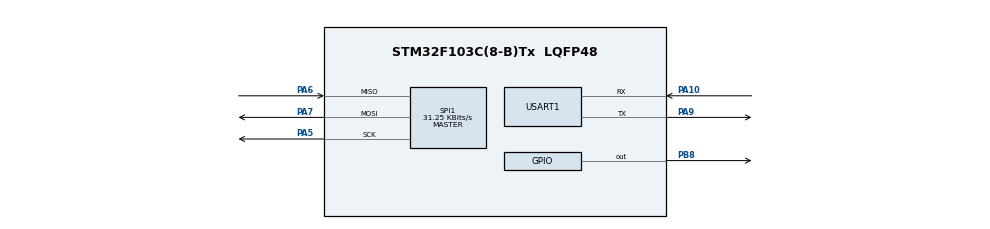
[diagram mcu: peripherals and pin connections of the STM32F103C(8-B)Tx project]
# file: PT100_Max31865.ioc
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Mcu.Family=STM32F1
Mcu.Name=STM32F103C(8-B)Tx
Mcu.Package=LQFP48
NVIC.PriorityGroup=NVIC_PRIORITYGROUP_4
PA10.Mode=Asynchronous
PA10.Signal=USART1_RX
PA13.Mode=Serial_Wire
PA13.Signal=SYS_JTMS-SWDIO
PA14.Mode=Serial_Wire
PA14.Signal=SYS_JTCK-SWCLK
PA5.Mode=Full_Duplex_Master
PA5.Signal=SPI1_SCK
PA6.Mode=Full_Duplex_Master
PA6.Signal=SPI1_MISO
PA7.Mode=Full_Duplex_Master
PA7.Signal=SPI1_MOSI
PA9.Mode=Asynchronous
PA9.Signal=USART1_TX
PB8.GPIO_Speed=GPIO_SPEED_FREQ_HIGH
PB8.PinState=GPIO_PIN_SET
PB8.Signal=GPIO_Output
PD0-OSC_IN.Mode=HSE-External-Oscillator
PD0-OSC_IN.Signal=RCC_OSC_IN
PD1-OSC_OUT.Mode=HSE-External-Oscillator
PD1-OSC_OUT.Signal=RCC_OSC_OUT
ProjectManager.HeapSize=0x200
ProjectManager.StackSize=0x400
ProjectManager.TargetToolchain=TrueSTUDIO
RCC.APB1Freq_Value=8000000
RCC.APB2Freq_Value=8000000
RCC.PLLSourceVirtual=RCC_PLLSOURCE_HSE
RCC.SYSCLKSource=RCC_SYSCLKSOURCE_HSE
RCC.USBFreq_Value=16000000
SPI1.BaudRatePrescaler=SPI_BAUDRATEPRESCALER_256
SPI1.CLKPhase=SPI_PHASE_2EDGE
SPI1.CalculateBaudRate=31.25 KBits/s
SPI1.Direction=SPI_DIRECTION_2LINES
SPI1.Mode=SPI_MODE_MASTER
SPI1.VirtualType=VM_MASTER
USART1.VirtualMode=VM_ASYNC
board=PT100_Max31865

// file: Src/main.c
/**
  ******************************************************************************
  * File Name          : main.c
  * Description        : Main program body
  ******************************************************************************
  ** This notice applies to any and all portions of this file
  * that are not between comment pairs USER CODE BEGIN and
  * USER CODE END. Other portions of this file, whether
  * inserted by the user or by software development tools
  * are owned by their respective copyright owners.
  *
  * COPYRIGHT(c) 2019 STMicroelectronics
  *
  * Redistribution and use in source and binary forms, with or without modification,
  * are permitted provided that the following conditions are met:
  *   1. Redistributions of source code must retain the above copyright notice,
  *      this list of conditions and the following disclaimer.
  *   2. Redistributions in binary form must reproduce the above copyright notice,
  *      this list of conditions and the following disclaimer in the documentation
  *      and/or other materials provided with the distribution.
  *   3. Neither the name of STMicroelectronics nor the names of its contributors
  *      may be used to endorse or promote products derived from this software
  *      without specific prior written permission.
  *
  * THIS SOFTWARE IS PROVIDED BY THE COPYRIGHT HOLDERS AND CONTRIBUTORS "AS IS"
  * AND ANY EXPRESS OR IMPLIED WARRANTIES, INCLUDING, BUT NOT LIMITED TO, THE
  * IMPLIED WARRANTIES OF MERCHANTABILITY AND FITNESS FOR A PARTICULAR PURPOSE ARE
  * DISCLAIMED. IN NO EVENT SHALL THE COPYRIGHT HOLDER OR CONTRIBUTORS BE LIABLE
  * FOR ANY DIRECT, INDIRECT, INCIDENTAL, SPECIAL, EXEMPLARY, OR CONSEQUENTIAL
  * DAMAGES (INCLUDING, BUT NOT LIMITED TO, PROCUREMENT OF SUBSTITUTE GOODS OR
  * SERVICES; LOSS OF USE, DATA, OR PROFITS; OR BUSINESS INTERRUPTION) HOWEVER
  * CAUSED AND ON ANY THEORY OF LIABILITY, WHETHER IN CONTRACT, STRICT LIABILITY,
  * OR TORT (INCLUDING NEGLIGENCE OR OTHERWISE) ARISING IN ANY WAY OUT OF THE USE
  * OF THIS SOFTWARE, EVEN IF ADVISED OF THE POSSIBILITY OF SUCH DAMAGE.
  *
  ******************************************************************************
  */

#include "main.h"
#include "stm32f1xx_hal.h"

/* USER CODE BEGIN Includes */
#include <dbgPrint.h>
#include <MAX31865.h>
#include <stdlib.h>
#include <stdio.h>
#include <math.h>
/* USER CODE END Includes */

SPI_HandleTypeDef hspi1;

UART_HandleTypeDef huart1;

/* USER CODE BEGIN PV */
/* Private variables ---------------------------------------------------------*/

/* USER CODE END PV */

void SystemClock_Config(void);
static void MX_GPIO_Init(void);
static void MX_USART1_UART_Init(void);
static void MX_SPI1_Init(void);

/* USER CODE BEGIN PFP */
/* Private function prototypes -----------------------------------------------*/

/* USER CODE END PFP */

/* USER CODE BEGIN 0 */
void printchar (uint8_t c)
{
	HAL_UART_Transmit(&huart1, &c, 1, 1000);
}

void spi_write(uint8_t *data, uint8_t len)
{
	HAL_SPI_Transmit(&hspi1, data, len, HAL_MAX_DELAY);
}
void spi_read(uint8_t *buffer, uint8_t len)
{
	HAL_SPI_Receive(&hspi1, buffer, len, HAL_MAX_DELAY);
}
void MAX31865_read(uint8_t addr, uint8_t *buffer, uint8_t len)
{
    addr &= ~MAX31865_READ;                                     // Force read bit on address

    HAL_GPIO_WritePin(GPIO_PORT_CS, GPIO_PIN_CS, GPIO_PIN_RESET);          // Enable CE
    spi_write(&addr, 1);                                        // Write addr
    while(HAL_SPI_GetState(&hspi1) != HAL_SPI_STATE_READY);
    spi_read(buffer, len);                                      // Read data
    HAL_GPIO_WritePin(GPIO_PORT_CS, GPIO_PIN_CS, GPIO_PIN_SET);         // Disable CE

}
void MAX31865_write(uint8_t addr, uint8_t data)
{
    addr |= MAX31865_WRITE;                                 // Force write bit on address

    HAL_GPIO_WritePin(GPIO_PORT_CS, GPIO_PIN_CS, GPIO_PIN_RESET);      // Enable CE
    spi_write(&addr, 1);                                    // Write addr
    spi_write(&data, 1);                                    // Write data
    HAL_GPIO_WritePin(GPIO_PORT_CS, GPIO_PIN_CS, GPIO_PIN_SET);     // Disable CE
}

float  temperature(float RTDnominal, float refResistor, float data) {

  float Z1, Z2, Z3, Z4, Rt, temp;

  Rt = data;
  Rt /= 32768;
  Rt *= refResistor;

  Z1 = -RTD_A;
  Z2 = RTD_A * RTD_A - (4 * RTD_B);
  Z3 = (4 * RTD_B) / RTDnominal;
  Z4 = 2 * RTD_B;

  temp = Z2 + (Z3 * Rt);
  temp = (sqrt(temp) + Z1) / Z4;

  if (temp >= 0) return temp;

  // ugh.
  Rt /= RTDnominal;
  Rt *= 100;      // normalize to 100 ohm

  float rpoly = Rt;

  temp = -242.02;
  temp += 2.2228 * rpoly;
  rpoly *= Rt;  // square
  temp += 2.5859e-3 * rpoly;
  rpoly *= Rt;  // ^3
  temp -= 4.8260e-6 * rpoly;
  rpoly *= Rt;  // ^4
  temp -= 2.8183e-8 * rpoly;
  rpoly *= Rt;  // ^5
  temp += 1.5243e-10 * rpoly;

  return temp;
}

float MAX31865_readTemp()
{
	MAX31865_write(0, 0xB2);
	HAL_Delay(100);

    // Read data from max31865 data registers
    uint8_t max3[2];
    MAX31865_read(MAX31856_RTDMSB_REG, max3, 2);

    // Combine 2 bytes into 1 number, and shift 1 down to remove fault bit
    uint32_t data = max3[0] << 8;
    data |= max3[1];
    data >>= 1;
    DBG_print("data=%02x \r\n",data);

    // Calculate the temperature from the measured resistance
    float temp = temperature(100, 430, (float) data );

    return temp;
}

/* USER CODE END 0 */

int main(void)
{

  /* MCU Configuration----------------------------------------------------------*/

  /* Reset of all peripherals, Initializes the Flash interface and the Systick. */
  HAL_Init();

  /* Configure the system clock */
  SystemClock_Config();

  /* Initialize all configured peripherals */
  MX_GPIO_Init();
  MX_USART1_UART_Init();
  MX_SPI1_Init();

  /* USER CODE BEGIN 2 */
  DBG_setup(printchar);
  /* USER CODE END 2 */

  /* Infinite loop */
  while (1)
  {

  /* USER CODE BEGIN 3 */
	  float temp = MAX31865_readTemp();
	  DBG_print("temp=%f \r\n",temp);
	  HAL_Delay(1500);
  }
  /* USER CODE END 3 */

}

/** System Clock Configuration
*/
void SystemClock_Config(void)
{

  RCC_OscInitTypeDef RCC_OscInitStruct;
  RCC_ClkInitTypeDef RCC_ClkInitStruct;

    /**Initializes the CPU, AHB and APB busses clocks
    */
  RCC_OscInitStruct.OscillatorType = RCC_OSCILLATORTYPE_HSE;
  RCC_OscInitStruct.HSEState = RCC_HSE_ON;
  RCC_OscInitStruct.PLL.PLLState = RCC_PLL_NONE;
  if (HAL_RCC_OscConfig(&RCC_OscInitStruct) != HAL_OK)
  {
    _Error_Handler(__FILE__, __LINE__);
  }

    /**Initializes the CPU, AHB and APB busses clocks
    */
  RCC_ClkInitStruct.ClockType = RCC_CLOCKTYPE_HCLK|RCC_CLOCKTYPE_SYSCLK
                              |RCC_CLOCKTYPE_PCLK1|RCC_CLOCKTYPE_PCLK2;
  RCC_ClkInitStruct.SYSCLKSource = RCC_SYSCLKSOURCE_HSE;
  RCC_ClkInitStruct.AHBCLKDivider = RCC_SYSCLK_DIV1;
  RCC_ClkInitStruct.APB1CLKDivider = RCC_HCLK_DIV1;
  RCC_ClkInitStruct.APB2CLKDivider = RCC_HCLK_DIV1;

  if (HAL_RCC_ClockConfig(&RCC_ClkInitStruct, FLASH_LATENCY_0) != HAL_OK)
  {
    _Error_Handler(__FILE__, __LINE__);
  }

    /**Configure the Systick interrupt time
    */
  HAL_SYSTICK_Config(HAL_RCC_GetHCLKFreq()/1000);

    /**Configure the Systick
    */
  HAL_SYSTICK_CLKSourceConfig(SYSTICK_CLKSOURCE_HCLK);

  /* SysTick_IRQn interrupt configuration */
  HAL_NVIC_SetPriority(SysTick_IRQn, 0, 0);
}

/* SPI1 init function */
static void MX_SPI1_Init(void)
{

  /* SPI1 parameter configuration*/
  hspi1.Instance = SPI1;
  hspi1.Init.Mode = SPI_MODE_MASTER;
  hspi1.Init.Direction = SPI_DIRECTION_2LINES;
  hspi1.Init.DataSize = SPI_DATASIZE_8BIT;
  hspi1.Init.CLKPolarity = SPI_POLARITY_LOW;
  hspi1.Init.CLKPhase = SPI_PHASE_2EDGE;
  hspi1.Init.NSS = SPI_NSS_SOFT;
  hspi1.Init.BaudRatePrescaler = SPI_BAUDRATEPRESCALER_256;
  hspi1.Init.FirstBit = SPI_FIRSTBIT_MSB;
  hspi1.Init.TIMode = SPI_TIMODE_DISABLE;
  hspi1.Init.CRCCalculation = SPI_CRCCALCULATION_DISABLE;
  hspi1.Init.CRCPolynomial = 10;
  if (HAL_SPI_Init(&hspi1) != HAL_OK)
  {
    _Error_Handler(__FILE__, __LINE__);
  }

}

/* USART1 init function */
static void MX_USART1_UART_Init(void)
{

  huart1.Instance = USART1;
  huart1.Init.BaudRate = 115200;
  huart1.Init.WordLength = UART_WORDLENGTH_8B;
  huart1.Init.StopBits = UART_STOPBITS_1;
  huart1.Init.Parity = UART_PARITY_NONE;
  huart1.Init.Mode = UART_MODE_TX_RX;
  huart1.Init.HwFlowCtl = UART_HWCONTROL_NONE;
  huart1.Init.OverSampling = UART_OVERSAMPLING_16;
  if (HAL_UART_Init(&huart1) != HAL_OK)
  {
    _Error_Handler(__FILE__, __LINE__);
  }

}

/** Configure pins as
        * Analog
        * Input
        * Output
        * EVENT_OUT
        * EXTI
*/
static void MX_GPIO_Init(void)
{

  GPIO_InitTypeDef GPIO_InitStruct;

  /* GPIO Ports Clock Enable */
  __HAL_RCC_GPIOD_CLK_ENABLE();
  __HAL_RCC_GPIOA_CLK_ENABLE();
  __HAL_RCC_GPIOB_CLK_ENABLE();

  /*Configure GPIO pin Output Level */
  HAL_GPIO_WritePin(GPIOB, GPIO_PIN_8, GPIO_PIN_SET);

  /*Configure GPIO pin : PB8 */
  GPIO_InitStruct.Pin = GPIO_PIN_8;
  GPIO_InitStruct.Mode = GPIO_MODE_OUTPUT_PP;
  GPIO_InitStruct.Speed = GPIO_SPEED_FREQ_HIGH;
  HAL_GPIO_Init(GPIOB, &GPIO_InitStruct);

}

void _Error_Handler(char * file, int line)
{
  while(1)
  {
  }
}

/************************ (C) COPYRIGHT STMicroelectronics *****END OF FILE****/
